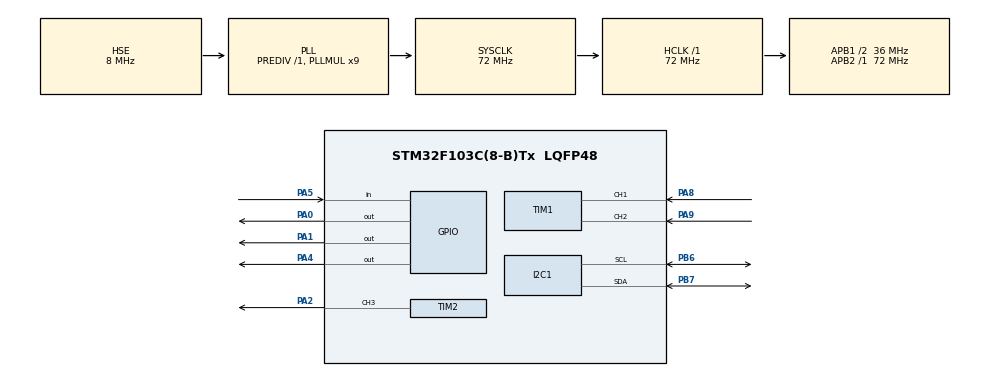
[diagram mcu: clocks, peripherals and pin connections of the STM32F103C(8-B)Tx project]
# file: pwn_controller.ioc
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Mcu.Family=STM32F1
Mcu.Name=STM32F103C(8-B)Tx
Mcu.Package=LQFP48
NVIC.PriorityGroup=NVIC_PRIORITYGROUP_4
NVIC.TIM1_BRK_IRQn=true\:0\:0\:false\:false\:true\:true\:true\:true
NVIC.TIM2_IRQn=true\:0\:0\:false\:false\:true\:true\:true\:true
PA0-WKUP.GPIO_ModeDefaultOutputPP=GPIO_MODE_OUTPUT_PP
PA0-WKUP.Signal=GPIO_Output
PA1.Signal=GPIO_Output
PA13.Mode=Serial_Wire
PA13.Signal=SYS_JTMS-SWDIO
PA14.Mode=Serial_Wire
PA14.Signal=SYS_JTCK-SWCLK
PA2.Signal=S_TIM2_CH3
PA4.GPIO_ModeDefaultOutputPP=GPIO_MODE_OUTPUT_PP
PA4.GPIO_PuPd=GPIO_PULLUP
PA4.Signal=GPIO_Output
PA5.Signal=GPIO_Input
PA8.GPIO_PuPd=GPIO_PULLUP
PA8.Signal=S_TIM1_CH1
PA9.GPIO_PuPd=GPIO_PULLUP
PA9.Signal=S_TIM1_CH2
PB6.Mode=I2C
PB6.Signal=I2C1_SCL
PB7.Mode=I2C
PB7.Signal=I2C1_SDA
PC14-OSC32_IN.Mode=LSE-External-Oscillator
PC14-OSC32_IN.Signal=RCC_OSC32_IN
PC15-OSC32_OUT.Mode=LSE-External-Oscillator
PC15-OSC32_OUT.Signal=RCC_OSC32_OUT
PD0-OSC_IN.Mode=HSE-External-Oscillator
PD0-OSC_IN.Signal=RCC_OSC_IN
PD1-OSC_OUT.Mode=HSE-External-Oscillator
PD1-OSC_OUT.Signal=RCC_OSC_OUT
ProjectManager.HeapSize=0x200
ProjectManager.StackSize=0x400
ProjectManager.TargetToolchain=MDK-ARM V5
RCC.AHBFreq_Value=72000000
RCC.APB1CLKDivider=RCC_HCLK_DIV2
RCC.APB1Freq_Value=36000000
RCC.APB1TimFreq_Value=72000000
RCC.APB2Freq_Value=72000000
RCC.APB2TimFreq_Value=72000000
RCC.HCLKFreq_Value=72000000
RCC.PLLMUL=RCC_PLL_MUL9
RCC.PLLSourceVirtual=RCC_PLLSOURCE_HSE
RCC.SYSCLKFreq_VALUE=72000000
RCC.SYSCLKSource=RCC_SYSCLKSOURCE_PLLCLK
RCC.USBFreq_Value=72000000
SH.S_TIM1_CH1.0=TIM1_CH1,Encoder_Interface
SH.S_TIM1_CH2.0=TIM1_CH2,Encoder_Interface
SH.S_TIM2_CH3.0=TIM2_CH3,PWM Generation3 CH3
TIM1.EncoderMode=TIM_ENCODERMODE_TI12
TIM2.Channel-PWM\ Generation3\ CH3=TIM_CHANNEL_3
TIM2.Period=10-1
TIM2.Prescaler=72-1
board=custom

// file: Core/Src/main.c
/* USER CODE BEGIN Header */
/**
  ******************************************************************************
  * @file           : main.c
  * @brief          : Main program body
  ******************************************************************************
  * @attention
  *
  * Copyright (c) 2025 STMicroelectronics.
  * All rights reserved.
  *
  * This software is licensed under terms that can be found in the LICENSE file
  * in the root directory of this software component.
  * If no LICENSE file comes with this software, it is provided AS-IS.
  *
  ******************************************************************************
  */
/* USER CODE END Header */
#include "main.h"
#include "i2c.h"
#include "tim.h"
#include "gpio.h"

/* USER CODE BEGIN Includes */
#include "C:\Users\86138\Desktop\stm32\pwn_controller\MOTOR\motor.h"
#include "C:\Users\86138\Desktop\stm32\pwn_controller\Hardware\OLED.h"
/* USER CODE END Includes */

void SystemClock_Config(void);

/* USER CODE BEGIN 0 */
uint16_t Key_State_Count = 0;
uint8_t flag = 0;
double Speed = 0.00;
int h = 0,m = 0,s = 0;
/* USER CODE END 0 */

int main(void)
{

  /* MCU Configuration--------------------------------------------------------*/

  /* Reset of all peripherals, Initializes the Flash interface and the Systick. */
  HAL_Init();

  /* Configure the system clock */
  SystemClock_Config();

  /* Initialize all configured peripherals */
  MX_GPIO_Init();
  MX_TIM2_Init();
  MX_TIM1_Init();
  MX_I2C1_Init();
  /* USER CODE BEGIN 2 */
	HAL_Delay(20);
	OLED_INIT();
	OLED_Clear();
//	OLED_Printf(0,0,OLED_8X16,"Speed:%0.2lf",Speed);
	OLED_Update();
	uint8_t Key_State,Key_State_Last;
	HAL_TIM_Base_Start(&htim2);
	HAL_TIM_PWM_Start(&htim2,TIM_CHANNEL_3);
	HAL_TIM_Encoder_Start(&htim1,TIM_CHANNEL_1 | TIM_CHANNEL_2);
	__HAL_TIM_SetCompare(&htim2,TIM_CHANNEL_3,100);
	stop_engine();
  /* USER CODE END 2 */

  /* Infinite loop */
  /* USER CODE BEGIN WHILE */
  while (1)
  {

		/*Key_State_Last = Key_State;
		Key_State =  HAL_GPIO_ReadPin(GPIOA,GPIO_PIN_5);
		if(!Key_State && Key_State_Last)
		{
			flag = 1;
			Key_State_Count++;
			Key_State_Count %= 4;
		}
		if(flag) positive_revolve();
		__HAL_TIM_SetCompare(&htim2,TIM_CHANNEL_3,(Key_State_Count / 4.0) * 100);*/
		HAL_Delay(1000);
		//Speed += 1;
		//OLED_Printf(0,0,OLED_8X16,"Speed:%0.2lf",Speed);
		s ++;
		if(s >= 60) m ++,s = 0;
		if(m >= 60) h ++,m = 0;
		OLED_Printf(0,0,OLED_8X16,"%02d:%02d:%02d",h,m,s);
		__HAL_TIM_SetCompare(&htim2,TIM_CHANNEL_3,);
		OLED_Update();
		negtive_revolve();
    /* USER CODE END WHILE */

  }
}

void SystemClock_Config(void)
{
  RCC_OscInitTypeDef RCC_OscInitStruct = {0};
  RCC_ClkInitTypeDef RCC_ClkInitStruct = {0};

  /** Initializes the RCC Oscillators according to the specified parameters
  * in the RCC_OscInitTypeDef structure.
  */
  RCC_OscInitStruct.OscillatorType = RCC_OSCILLATORTYPE_HSE;
  RCC_OscInitStruct.HSEState = RCC_HSE_ON;
  RCC_OscInitStruct.HSEPredivValue = RCC_HSE_PREDIV_DIV1;
  RCC_OscInitStruct.HSIState = RCC_HSI_ON;
  RCC_OscInitStruct.PLL.PLLState = RCC_PLL_ON;
  RCC_OscInitStruct.PLL.PLLSource = RCC_PLLSOURCE_HSE;
  RCC_OscInitStruct.PLL.PLLMUL = RCC_PLL_MUL9;
  if (HAL_RCC_OscConfig(&RCC_OscInitStruct) != HAL_OK)
  {
    Error_Handler();
  }

  /** Initializes the CPU, AHB and APB buses clocks
  */
  RCC_ClkInitStruct.ClockType = RCC_CLOCKTYPE_HCLK|RCC_CLOCKTYPE_SYSCLK
                              |RCC_CLOCKTYPE_PCLK1|RCC_CLOCKTYPE_PCLK2;
  RCC_ClkInitStruct.SYSCLKSource = RCC_SYSCLKSOURCE_PLLCLK;
  RCC_ClkInitStruct.AHBCLKDivider = RCC_SYSCLK_DIV1;
  RCC_ClkInitStruct.APB1CLKDivider = RCC_HCLK_DIV2;
  RCC_ClkInitStruct.APB2CLKDivider = RCC_HCLK_DIV1;

  if (HAL_RCC_ClockConfig(&RCC_ClkInitStruct, FLASH_LATENCY_2) != HAL_OK)
  {
    Error_Handler();
  }
}

/* USER CODE BEGIN 4 */
/*void HAL_TIM_PeriodElapsedCallback(TIM_HandleTypeDef *htim)
{
	if(htim == &htim2)
	{
		Speed = __HAL_TIM_GetCounter(&htim2)/(20*13*0.00001f);
	}
}	*/
/* USER CODE END 4 */

void Error_Handler(void)
{
  __disable_irq();
  while (1)
  {
  }
}
